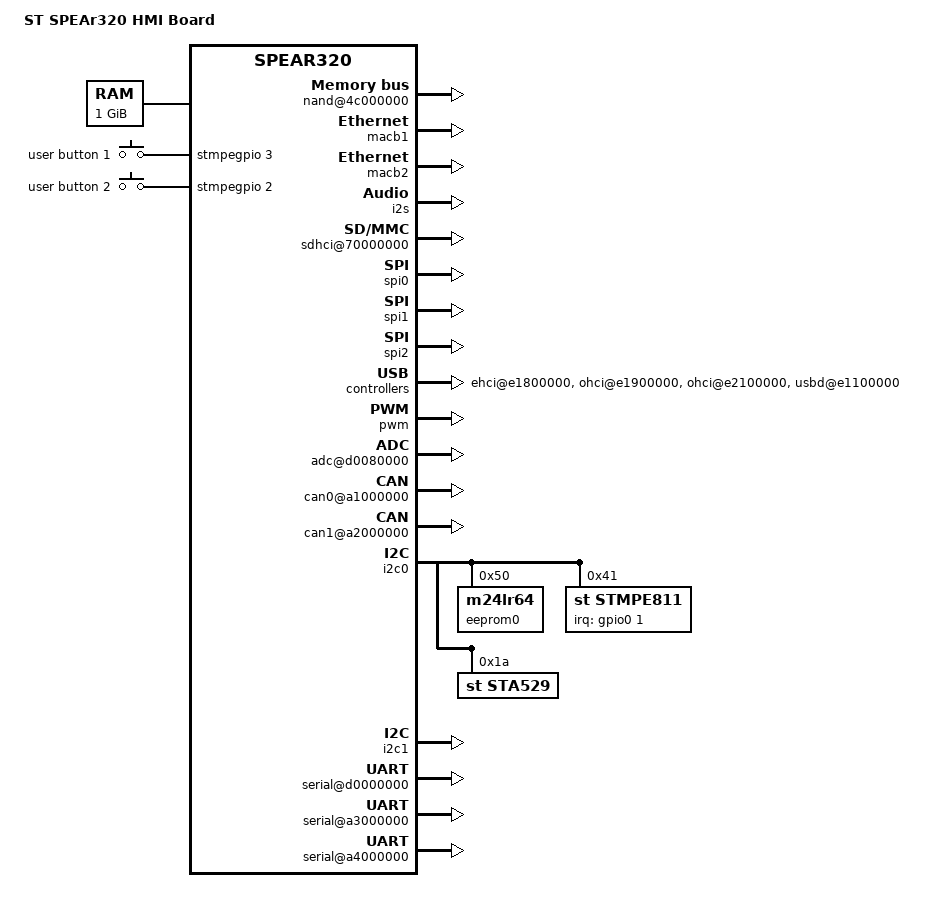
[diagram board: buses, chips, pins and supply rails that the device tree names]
/*
 * DTS file for SPEAr320 Evaluation Baord
 *
 * Copyright 2012 ST Microelectronics Pvt. Ltd.
 *
 * The code contained herein is licensed under the GNU General Public
 * License. You may obtain a copy of the GNU General Public License
 * Version 2 or later at the following locations:
 *
 * http://www.opensource.org/licenses/gpl-license.html
 * http://www.gnu.org/copyleft/gpl.html
 */

/dts-v1/;
/include/ "spear320.dtsi"

/ {
	model = "ST SPEAr320 HMI Board";
	compatible = "st,spear320-hmi", "st,spear320";
	#address-cells = <1>;
	#size-cells = <1>;

	memory {
		reg = <0 0x40000000>;
	};

	ahb {
		pinmux@b3000000 {
			st,pinmux-mode = <4>;
			pinctrl-names = "default";
			pinctrl-0 = <&state_default>;

			state_default: pinmux {
				ssp0 {
					st,pins = "ssp0_grp";
					st,function = "ssp0";
				};
				uart0 {
					st,pins = "uart0_grp";
					st,function = "uart0";
				};
				clcd {
					st,pins = "clcd_grp";
					st,function = "clcd";
				};
				fsmc {
					st,pins = "fsmc_8bit_grp";
					st,function = "fsmc";
				};
				sdhci {
					st,pins = "sdhci_cd_12_grp";
					st,function = "sdhci";
				};
				i2s {
					st,pins = "i2s_grp";
					st,function = "i2s";
				};
				uart1 {
					st,pins = "uart1_grp";
					st,function = "uart1";
				};
				uart2 {
					st,pins = "uart2_grp";
					st,function = "uart2";
				};
				can0 {
					st,pins = "can0_grp";
					st,function = "can0";
				};
				can1 {
					st,pins = "can1_grp";
					st,function = "can1";
				};
				mii0_1 {
					st,pins = "rmii0_1_grp";
					st,function = "mii0_1";
				};
				pwm0_1 {
					st,pins = "pwm0_1_pin_37_38_grp";
					st,function = "pwm0_1";
				};
				pwm2 {
					st,pins = "pwm2_pin_34_grp";
					st,function = "pwm2";
				};
				gpio0 {
					st,pins = "gpio0_pin1_grp";
					st,function = "gpio0";
				};
			};
		};

		clcd@90000000 {
			status = "okay";
		};

		dma@fc400000 {
			status = "okay";
		};

		nand@4c000000 {
			status = "okay";

			partition@0 {
				label = "xloader";
				reg = <0x0 0x80000>;
			};
			partition@80000 {
				label = "u-boot";
				reg = <0x80000 0x140000>;
			};
			partition@1C0000 {
				label = "environment";
				reg = <0x1C0000 0x40000>;
			};
			partition@200000 {
				label = "dtb";
				reg = <0x200000 0x40000>;
			};
			partition@240000 {
				label = "linux";
				reg = <0x240000 0xC00000>;
			};
			partition@E40000 {
				label = "rootfs";
				reg = <0xE40000 0x0>;
			};
		};

		macb1: eth@aa000000 {
			status = "okay";
		};

		macb2: eth@ab000000 {
			status = "okay";
		};

		i2s:i2s@a9400000 {
			status = "okay";
		};

		sound {
			compatible = "spear,spear-evb";
			audio-controllers = <&i2s>;
			audio-codecs = <&sta529>;
			codec_dai_names = "sta529-audio";
			stream_names = "pcm";
			dai_names = "sta529-pcm";
			nr_controllers = <1>;
		        status = "okay";
		};

		sdhci@70000000 {
			power-gpio = <&gpiopinctrl 50 1>;
			power_always_enb;
			status = "okay";
		};

		smi: flash@fc000000 {
			status = "okay";
			clock-rate=<50000000>;

			flash@f8000000 {
				#address-cells = <1>;
				#size-cells = <1>;
				reg = <0xf8000000 0x800000>;
				st,smi-fast-mode;

				partition@0 {
					label = "xloader";
					reg = <0x0 0x10000>;
				};
				partition@10000 {
					label = "u-boot";
					reg = <0x10000 0x50000>;
				};
				partition@60000 {
					label = "environment";
					reg = <0x60000 0x10000>;
				};
				partition@70000 {
					label = "dtb";
					reg = <0x70000 0x10000>;
				};
				partition@80000 {
					label = "linux";
					reg = <0x80000 0x310000>;
				};
				partition@390000 {
					label = "rootfs";
					reg = <0x390000 0x0>;
				};
			};
		};

		spi0: spi@d0100000 {
			status = "okay";
		};

		spi1: spi@a5000000 {
			status = "okay";
		};

		spi2: spi@a6000000 {
			status = "okay";
		};

		ehci@e1800000 {
			status = "okay";
		};

		ohci@e1900000 {
			status = "okay";
		};

		ohci@e2100000 {
			status = "okay";
		};

		usbd@e1100000 {
			status = "okay";
		};

		gpio_keys {
			compatible = "gpio-keys";
			#address-cells = <1>;
			#size-cells = <0>;

			button@1 {
				label = "user button 1";
				linux,code = <0x100>;
				gpios = <&stmpegpio 3 0x4>;
				debounce-interval = <20>;
				gpio-key,wakeup = <1>;
			};

			button@2 {
				label = "user button 2";
				linux,code = <0x200>;
				gpios = <&stmpegpio 2 0x4>;
				debounce-interval = <20>;
				gpio-key,wakeup = <1>;
			};
		};

		pwm: pwm@a8000000 {
			status = "okay";
		};

		jpeg@d0800000 {
			status = "okay";
		};

		apb {
			adc@d0080000 {
				status = "okay";
			};

			can0@a1000000 {
				status = "okay";
			};

			can1@a2000000 {
				status = "okay";
			};

			gpio0: gpio@fc980000 {
			       status = "okay";
			};

			i2c0: i2c@d0180000 {
				status = "okay";

				eeprom0@50 {
					compatible = "m24lr64";
					reg = <0x50>;
				};

				stmpe811@41 {
					compatible = "st,stmpe811";
					#address-cells = <1>;
					#size-cells = <0>;
					reg = <0x41>;
					irq_over_gpio;
					irq-gpios = <&gpio0 1 0x4>;
					id = <0>;
					blocks = <0x5>;
					irq_trigger = <0x1>;

					stmpegpio: stmpe-gpio {
						compatible = "stmpe,gpio";
						reg = <0>;
						gpio-controller;
						#gpio-cells = <2>;
						gpio,norequest_mask = <0xF3>;
					};

					stmpe610-ts {
						compatible = "stmpe,ts";
						reg = <0>;
						ts,sample_time = <4>;
						ts,mod_12b = <1>;
						ts,ref_sel = <0>;
						ts,adc_freq = <1>;
						ts,ave_ctrl = <1>;
						ts,touch_det_delay = <2>;
						ts,settling = <2>;
						ts,fraction_z = <7>;
						ts,i_drive = <1>;
					};
				};

					sta529:	sta529@1a {
						compatible = "st,sta529";
						reg = <0x1a>;
					};
			};

			i2c1: i2c@a7000000 {
			       status = "okay";
			};

			rtc@fc900000 {
			       status = "okay";
			};

			serial@d0000000 {
			       status = "okay";
				pinctrl-names = "default";
				pinctrl-0 = <>;
			};

			serial@a3000000 {
			       status = "okay";
				pinctrl-names = "default";
				pinctrl-0 = <>;
			};

			serial@a4000000 {
			       status = "okay";
				pinctrl-names = "default";
				pinctrl-0 = <>;
			};

			timer@f0000000 {
				status = "okay";
			};

			wdt@fc880000 {
			       status = "okay";
			};

			gpio@b3000000 {
				status = "okay";
			};
		};
	};
};
